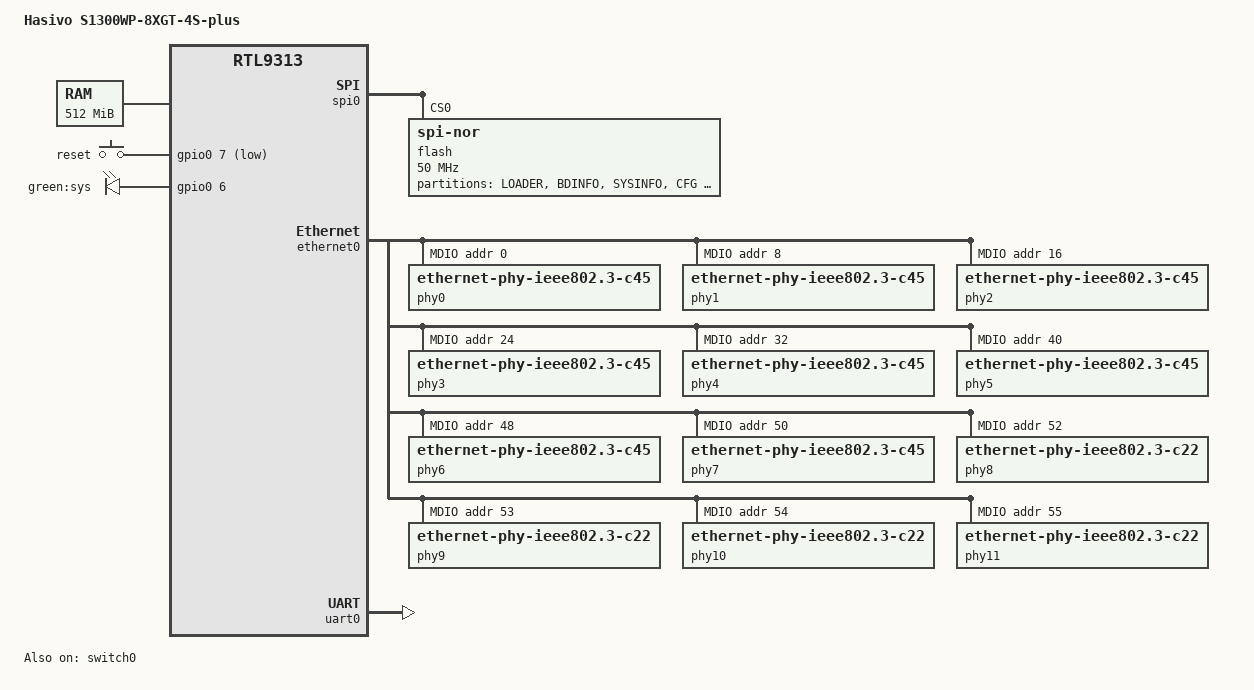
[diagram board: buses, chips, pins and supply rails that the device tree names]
// SPDX-License-Identifier: GPL-2.0-or-later
/dts-v1/;

#include "rtl931x.dtsi"
#include <dt-bindings/gpio/gpio.h>
#include <dt-bindings/input/input.h>
#include <dt-bindings/leds/common.h>

 / {
	compatible = "hasivo,s1300wp-8xgt-4s-plus", "realtek,rtl9313";
	model = "Hasivo S1300WP-8XGT-4S-plus";

	memory@0 {
		device_type = "memory";
		reg = <0x00000000 0x10000000>,
		      <0x90000000 0x10000000>;
	};

	chosen {
		bootargs = "console=ttyS0,38400 earlycon";
		stdout-path = "serial0:38400n8";
	};

	aliases {
		serial0 = &uart0;
	};

	gpio-keys {
		compatible = "gpio-keys";
		reset {
			label = "reset";
			gpios = <&gpio0 7 GPIO_ACTIVE_LOW>;
			linux,code = <KEY_RESTART>;
		};
	};

	gpio-leds {
		compatible = "gpio-leds";
		sys {
			label = "green:sys";
			gpios = <&gpio0 6 GPIO_ACTIVE_HIGH>;
			default-state = "on";
		};
	};
 };

/* ---------- SPI Flash ---------- */
&spi0 {
	status = "okay";

	flash@0 {
		compatible = "jedec,spi-nor";
		reg = <0>;
		spi-max-frequency = <50000000>;

		partitions {
			compatible = "fixed-partitions";
			#address-cells = <1>;
			#size-cells   = <1>;

			partition@0 {
				label = "LOADER";
				reg = <0x000000 0x0e0000>;
				read-only;
			};

			partition@e0000 {
				label = "BDINFO";
				reg = <0x0e0000 0x010000>;
			};

			partition@f0000 {
				label = "SYSINFO";
				reg = <0x0f0000 0x010000>;
			};

			partition@100000 {
				label = "CFG";
				reg = <0x100000 0x100000>;
			};

			partition@200000 {
				label = "LOG";
				reg = <0x200000 0x100000>;
			};

			partition@300000 {
				label = "RUNTIME";
				reg = <0x300000 0x700000>;
			};

			partition@a00000 {
				label = "RUNTIME2";
				reg = <0xa00000 0x1600000>;
			};
		};
	};
};

/* ---------- Ethernet + MDIO ---------- */
&ethernet0 {
	mdio: mdio-bus {
		compatible = "realtek,rtl838x-mdio";
		regmap = <&ethernet0>;
		#address-cells = <1>;
		#size-cells = <0>;

		// 8x 10G NBASE-T PHYs (assumed 826x with SMI addresses)
		phy0: ethernet-phy@0 {
			compatible = "ethernet-phy-ieee802.3-c45";
			rtl9300,smi-address = <0 0>;
			reg = <0>;
			sds = <2>;
		};
		phy1: ethernet-phy@1 {
			compatible = "ethernet-phy-ieee802.3-c45";
			rtl9300,smi-address = <0 1>;
			reg = <8>;
			sds = <3>;
		};
		phy2: ethernet-phy@2 {
			compatible = "ethernet-phy-ieee802.3-c45";
			rtl9300,smi-address = <0 2>;
			reg = <16>;
			sds = <4>;
		};
		phy3: ethernet-phy@3 {
			compatible = "ethernet-phy-ieee802.3-c45";
			rtl9300,smi-address = <0 3>;
			reg = <24>;
			sds = <5>;
		};
		phy4: ethernet-phy@4 {
			compatible = "ethernet-phy-ieee802.3-c45";
			rtl9300,smi-address = <1 4>;
			reg = <32>;
			sds = <6>;
		};
		phy5: ethernet-phy@5 {
			compatible = "ethernet-phy-ieee802.3-c45";
			rtl9300,smi-address = <1 5>;
			reg = <40>;
			sds = <7>;
		};
		phy6: ethernet-phy@6 {
			compatible = "ethernet-phy-ieee802.3-c45";
			rtl9300,smi-address = <1 6>;
			reg = <48>;
			sds = <8>;
		};
		phy7: ethernet-phy@7 {
			compatible = "ethernet-phy-ieee802.3-c45";
			rtl9300,smi-address = <1 7>;
			reg = <50>;
			sds = <9>;
		};

		phy8: ethernet-phy@8 {
			compatible = "ethernet-phy-ieee802.3-c22";
			reg = <52>;
			sds = <10>;
			phy-is-integrated;
		};

		phy9: ethernet-phy@9 {
			compatible = "ethernet-phy-ieee802.3-c22";
			reg = <53>;
			sds = <11>;
			phy-is-integrated;
		};

		phy10: ethernet-phy@10 {
			compatible = "ethernet-phy-ieee802.3-c22";
			reg = <54>;
			sds = <12>;
			phy-is-integrated;
		};

		phy11: ethernet-phy@11 {
			compatible = "ethernet-phy-ieee802.3-c22";
			reg = <55>;
			sds = <13>;
			phy-is-integrated;
		};

	};
};

/* ---------- Switch Ports ---------- */
&switch0 {
	status = "okay";

	ports {
		#address-cells = <1>;
		#size-cells = <0>;

		// 8x NBASE-T ports
		port@0 {
			reg = <0>;
			label = "lan1";
			phy-mode = "usxgmii";
			phy-handle = <&phy0>;
		};
		port@1 {
			reg = <8>;
			label = "lan2";
			phy-mode = "usxgmii";
			phy-handle = <&phy1>;
		};
		port@2 {
			reg = <16>;
			label = "lan3";
			phy-mode = "usxgmii";
			phy-handle = <&phy2>;
		};
		port@3 {
			reg = <24>;
			label = "lan4";
			phy-mode = "usxgmii";
			phy-handle = <&phy3>;
		};
		port@4 {
			reg = <32>;
			label = "lan5";
			phy-mode = "usxgmii";
			phy-handle = <&phy4>;
		};
		port@5 {
			reg = <40>;
			label = "lan6";
			phy-mode = "usxgmii";
			phy-handle = <&phy5>;
		};
		port@6 {
			reg = <48>;
			label = "lan7";
			phy-mode = "usxgmii";
			phy-handle = <&phy6>;
		};
		port@7 {
			reg = <50>;
			label = "lan8";
			phy-mode = "usxgmii";
			phy-handle = <&phy7>;
		};

		// 4x SFP+ ports (SerDes linked)
		port@34 {
			reg = <52>;
			label = "lan9";
			phy-mode = "1000base-x";
			phy-handle = <&phy8>;
		};

		port@35 {
			reg = <53>;
			label = "lan10";
			phy-mode = "1000base-x";
			phy-handle = <&phy9>;
		};

		port@36 {
			reg = <54>;
			label = "lan11";
			phy-mode = "1000base-x";
			phy-handle = <&phy10>;
		};

		port@37 {
			reg = <55>;
			label = "lan12";
			phy-mode = "1000base-x";
			phy-handle = <&phy11>;
		};

		// Internal CPU port
		port@38 {
			reg = <56>;
			ethernet = <&ethernet0>;
			phy-mode = "internal";
			fixed-link {
				speed = <10000>;
				full-duplex;
			};
		};
	};
};

/* ---------- UART ---------- */
&uart0 {
	status = "okay";
};

&uart1 {
	status = "disabled";
};
